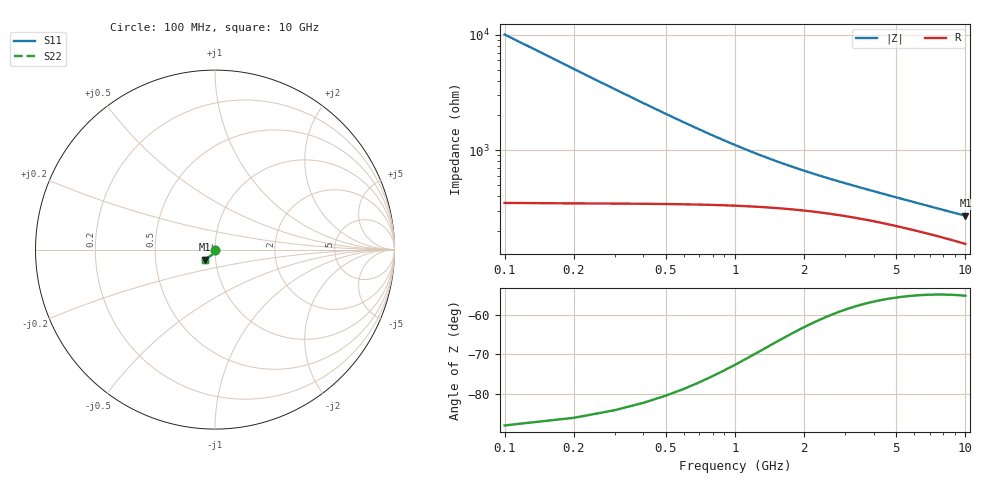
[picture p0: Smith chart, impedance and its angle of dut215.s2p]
! Touchstone file exported from HFSS 2024.1.0
!  File:  C:/UserFiles/LocalFiles/RDL_TSV_Batchsim/temp_TSV1_215_1778758123.aedt
!  Generated:  07:32:39 PM May 14, 2026
!  Design:  TSV1
!  Project:  temp_TSV1_215_1778758123
!  Setup:  Setup1
!  Solution:  Sweep
! Variables:
!  dtsv = 25.66um
!  hbump = 3um
!  htsv = 50.35um
!  lrdl = 252.1521522um
!  p = 40
!  p1 = 56.32um
!  t = 500um
!  trdl = 3um
!  wrdl = 24.89489489um
# GHz S MA R 50.000000
! Terminal data exported
! Port[1] = TSV22_T1
! Port[2] = TSV22_T2
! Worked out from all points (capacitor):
!   100 points, 100 MHz to 10 GHz, reference 50 ohm
!   read as one part in shunt: C = 158 fF near 100 MHz
!   lowest |Z| = 270 ohm at 10 GHz (marker M1)
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0.1  0.002286 -90.5  0.9998 -0.2  0.9998 -0.2  0.002286 -90.5
! Gamma 0 0 0 0
! Port Impedance 50 0 50 0
0.2  0.004557 -93.4  0.9996 -0.3  0.9996 -0.3  0.004557 -93.4
0.3  0.006797 -95.8  0.9991 -0.5  0.9991 -0.5  0.006797 -95.8
0.4  0.008995 -98.0  0.9985 -0.6  0.9985 -0.6  0.008995 -98.0
0.5  0.01114 -100.0  0.9978 -0.7  0.9978 -0.7  0.01114 -100.0
0.6  0.01322 -102.0  0.9969 -0.9  0.9969 -0.9  0.01322 -102.0
0.7  0.01522 -103.9  0.9959 -1.0  0.9959 -1.0  0.01522 -103.9
0.8  0.01715 -105.6  0.9949 -1.1  0.9949 -1.1  0.01715 -105.6
0.9  0.019 -107.3  0.9939 -1.2  0.9939 -1.2  0.019 -107.3
1.1  0.02245 -110.5  0.9917 -1.4  0.9917 -1.4  0.02245 -110.5
1.4  0.02703 -114.5  0.9884 -1.7  0.9884 -1.7  0.02703 -114.5
1.6  0.02973 -116.7  0.9863 -1.8  0.9863 -1.8  0.02973 -116.7
1.8  0.03217 -118.7  0.9843 -1.9  0.9843 -1.9  0.03217 -118.7
2.1  0.03545 -121.1  0.9815 -2.1  0.9815 -2.1  0.03545 -121.1
2.5  0.03926 -123.7  0.9781 -2.3  0.9781 -2.3  0.03926 -123.7
2.9  0.04259 -125.6  0.9752 -2.5  0.9752 -2.5  0.04259 -125.6
3.4  0.0463 -127.4  0.9719 -2.7  0.9719 -2.7  0.0463 -127.4
4.2  0.0515 -129.4  0.9674 -3.0  0.9674 -3.0  0.0515 -129.4
5.1  0.05663 -130.9  0.9631 -3.4  0.9631 -3.4  0.05663 -130.9
6.7  0.06445 -132.7  0.9569 -3.9  0.9569 -3.9  0.06445 -132.7
8.4  0.07151 -133.7  0.9515 -4.4  0.9515 -4.4  0.07151 -133.7
10  0.07736 -134.3  0.9472 -4.9  0.9472 -4.9  0.07736 -134.3
